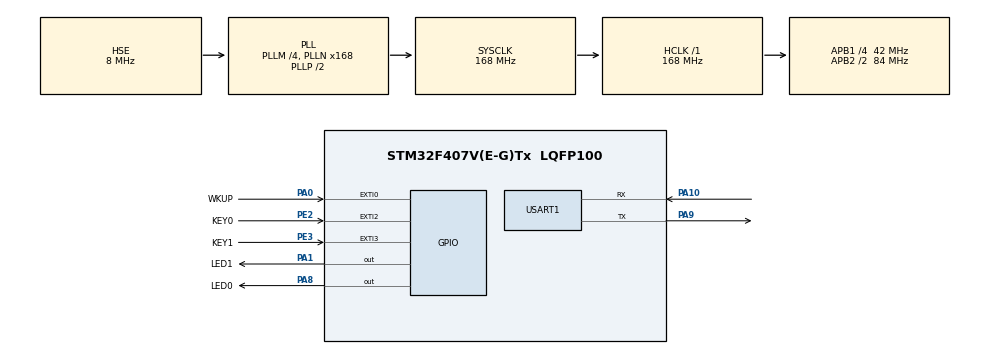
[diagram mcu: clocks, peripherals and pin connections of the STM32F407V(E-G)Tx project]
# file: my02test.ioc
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Dma.Request0=USART1_RX
Dma.USART1_RX.0.Direction=DMA_PERIPH_TO_MEMORY
Dma.USART1_RX.0.FIFOMode=DMA_FIFOMODE_DISABLE
Dma.USART1_RX.0.Instance=DMA2_Stream2
Dma.USART1_RX.0.MemDataAlignment=DMA_MDATAALIGN_BYTE
Dma.USART1_RX.0.MemInc=DMA_MINC_ENABLE
Dma.USART1_RX.0.Mode=DMA_NORMAL
Dma.USART1_RX.0.PeriphDataAlignment=DMA_PDATAALIGN_BYTE
Dma.USART1_RX.0.PeriphInc=DMA_PINC_DISABLE
Dma.USART1_RX.0.Priority=DMA_PRIORITY_LOW
FREERTOS.BinarySemaphores01=myBinarySem01,Dynamic,NULL
FREERTOS.Queues01=myQueue01,10,uint16_t,0,Dynamic,NULL,NULL
FREERTOS.Tasks01=defaultTask,24,128,StartDefaultTask,Default,NULL,Dynamic,NULL,NULL;myTask02,24,128,StartTask02,Default,NULL,Dynamic,NULL,NULL;myTask03,24,128,StartTask03,Default,NULL,Dynamic,NULL,NULL;myTask04,8,128,StartTask04,Default,NULL,Dynamic,NULL,NULL;myTask05,8,128,StartTask05,Default,NULL,Dynamic,NULL,NULL;myUart1Task,16,128,StartUart1Task,Default,NULL,Dynamic,NULL,NULL
Mcu.Family=STM32F4
Mcu.Name=STM32F407V(E-G)Tx
Mcu.Package=LQFP100
NVIC.DMA2_Stream2_IRQn=true\:5\:0\:false\:false\:true\:true\:false\:true\:true
NVIC.EXTI0_IRQn=true\:5\:0\:false\:false\:true\:true\:true\:true\:true
NVIC.EXTI2_IRQn=true\:5\:0\:false\:false\:true\:true\:true\:true\:true
NVIC.EXTI3_IRQn=true\:5\:0\:false\:false\:true\:true\:true\:true\:true
NVIC.PriorityGroup=NVIC_PRIORITYGROUP_4
NVIC.TIM4_IRQn=true\:15\:0\:false\:false\:true\:false\:false\:true\:true
NVIC.TimeBase=TIM4_IRQn
NVIC.TimeBaseIP=TIM4
NVIC.USART1_IRQn=true\:5\:0\:false\:false\:true\:true\:true\:true\:true
PA0-WKUP.GPIO_Label=WKUP
PA0-WKUP.GPIO_PuPd=GPIO_PULLDOWN
PA0-WKUP.Signal=GPXTI0
PA1.GPIO_Label=LED1
PA1.Signal=GPIO_Output
PA10.Mode=Asynchronous
PA10.Signal=USART1_RX
PA13.Mode=Serial_Wire
PA13.Signal=SYS_JTMS-SWDIO
PA14.Mode=Serial_Wire
PA14.Signal=SYS_JTCK-SWCLK
PA8.GPIO_Label=LED0
PA8.Signal=GPIO_Output
PA9.Mode=Asynchronous
PA9.Signal=USART1_TX
PC14-OSC32_IN.Mode=LSE-External-Oscillator
PC14-OSC32_IN.Signal=RCC_OSC32_IN
PC15-OSC32_OUT.Mode=LSE-External-Oscillator
PC15-OSC32_OUT.Signal=RCC_OSC32_OUT
PE2.GPIO_Label=KEY0
PE2.GPIO_ModeDefaultEXTI=GPIO_MODE_IT_FALLING
PE2.GPIO_PuPd=GPIO_PULLUP
PE2.Signal=GPXTI2
PE3.GPIO_Label=KEY1
PE3.GPIO_ModeDefaultEXTI=GPIO_MODE_IT_FALLING
PE3.GPIO_PuPd=GPIO_PULLUP
PE3.Signal=GPXTI3
PH0-OSC_IN.Mode=HSE-External-Oscillator
PH0-OSC_IN.Signal=RCC_OSC_IN
PH1-OSC_OUT.Mode=HSE-External-Oscillator
PH1-OSC_OUT.Signal=RCC_OSC_OUT
ProjectManager.HeapSize=0x200
ProjectManager.StackSize=0x400
ProjectManager.TargetToolchain=MDK-ARM V5.32
RCC.48MHZClocksFreq_Value=84000000
RCC.AHBFreq_Value=168000000
RCC.APB1CLKDivider=RCC_HCLK_DIV4
RCC.APB1Freq_Value=42000000
RCC.APB1TimFreq_Value=84000000
RCC.APB2CLKDivider=RCC_HCLK_DIV2
RCC.APB2Freq_Value=84000000
RCC.APB2TimFreq_Value=168000000
RCC.CortexFreq_Value=168000000
RCC.HCLKFreq_Value=168000000
RCC.HSE_VALUE=8000000
RCC.HSI_VALUE=16000000
RCC.PLLM=4
RCC.PLLN=168
RCC.PLLSourceVirtual=RCC_PLLSOURCE_HSE
RCC.SYSCLKFreq_VALUE=168000000
RCC.SYSCLKSource=RCC_SYSCLKSOURCE_PLLCLK
RCC.VCOOutputFreq_Value=336000000
TIM7.Period=50-1
TIM7.Prescaler=8400-1
USART1.VirtualMode=VM_ASYNC
VP_FREERTOS_VS_CMSIS_V2.Mode=CMSIS_V2
VP_SYS_VS_tim4.Mode=TIM4
VP_TIM7_VS_ClockSourceINT.Mode=Enable_Timer
board=custom

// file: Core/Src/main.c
/* USER CODE BEGIN Header */
/**
  ******************************************************************************
  * @file           : main.c
  * @brief          : Main program body
  ******************************************************************************
  * @attention
  *
  * Copyright (c) 2024 STMicroelectronics.
  * All rights reserved.
  *
  * This software is licensed under terms that can be found in the LICENSE file
  * in the root directory of this software component.
  * If no LICENSE file comes with this software, it is provided AS-IS.
  *
  ******************************************************************************
  */
/* USER CODE END Header */
#include "main.h"
#include "cmsis_os.h"
#include "dma.h"
#include "tim.h"
#include "usart.h"
#include "gpio.h"

void SystemClock_Config(void);
void MX_FREERTOS_Init(void);

int main(void)
{

  /* MCU Configuration--------------------------------------------------------*/

  /* Reset of all peripherals, Initializes the Flash interface and the Systick. */
  HAL_Init();

  /* Configure the system clock */
  SystemClock_Config();

  /* Initialize all configured peripherals */
  MX_GPIO_Init();
  MX_DMA_Init();
  MX_USART1_UART_Init();
  MX_TIM7_Init();

  /* Init scheduler */
  osKernelInitialize();

  /* Call init function for freertos objects (in freertos.c) */
  MX_FREERTOS_Init();

  /* Start scheduler */
  osKernelStart();

  /* We should never get here as control is now taken by the scheduler */
  /* Infinite loop */
  while (1)
  {

  }
}

void SystemClock_Config(void)
{
  RCC_OscInitTypeDef RCC_OscInitStruct = {0};
  RCC_ClkInitTypeDef RCC_ClkInitStruct = {0};

  /** Configure the main internal regulator output voltage
  */
  __HAL_RCC_PWR_CLK_ENABLE();
  __HAL_PWR_VOLTAGESCALING_CONFIG(PWR_REGULATOR_VOLTAGE_SCALE1);

  /** Initializes the RCC Oscillators according to the specified parameters
  * in the RCC_OscInitTypeDef structure.
  */
  RCC_OscInitStruct.OscillatorType = RCC_OSCILLATORTYPE_HSE;
  RCC_OscInitStruct.HSEState = RCC_HSE_ON;
  RCC_OscInitStruct.PLL.PLLState = RCC_PLL_ON;
  RCC_OscInitStruct.PLL.PLLSource = RCC_PLLSOURCE_HSE;
  RCC_OscInitStruct.PLL.PLLM = 4;
  RCC_OscInitStruct.PLL.PLLN = 168;
  RCC_OscInitStruct.PLL.PLLP = RCC_PLLP_DIV2;
  RCC_OscInitStruct.PLL.PLLQ = 4;
  if (HAL_RCC_OscConfig(&RCC_OscInitStruct) != HAL_OK)
  {
    Error_Handler();
  }

  /** Initializes the CPU, AHB and APB buses clocks
  */
  RCC_ClkInitStruct.ClockType = RCC_CLOCKTYPE_HCLK|RCC_CLOCKTYPE_SYSCLK
                              |RCC_CLOCKTYPE_PCLK1|RCC_CLOCKTYPE_PCLK2;
  RCC_ClkInitStruct.SYSCLKSource = RCC_SYSCLKSOURCE_PLLCLK;
  RCC_ClkInitStruct.AHBCLKDivider = RCC_SYSCLK_DIV1;
  RCC_ClkInitStruct.APB1CLKDivider = RCC_HCLK_DIV4;
  RCC_ClkInitStruct.APB2CLKDivider = RCC_HCLK_DIV2;

  if (HAL_RCC_ClockConfig(&RCC_ClkInitStruct, FLASH_LATENCY_5) != HAL_OK)
  {
    Error_Handler();
  }
}

void HAL_TIM_PeriodElapsedCallback(TIM_HandleTypeDef *htim)
{
  if (htim->Instance == TIM4) {
    HAL_IncTick();
  }
}

void Error_Handler(void)
{
  __disable_irq();
  while (1)
  {
  }
}

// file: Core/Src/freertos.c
/* USER CODE BEGIN Header */
/**
  ******************************************************************************
  * File Name          : freertos.c
  * Description        : Code for freertos applications
  ******************************************************************************
  * @attention
  *
  * Copyright (c) 2024 STMicroelectronics.
  * All rights reserved.
  *
  * This software is licensed under terms that can be found in the LICENSE file
  * in the root directory of this software component.
  * If no LICENSE file comes with this software, it is provided AS-IS.
  *
  ******************************************************************************
  */
/* USER CODE END Header */

#include "FreeRTOS.h"
#include "task.h"
#include "main.h"
#include "cmsis_os.h"

/* USER CODE BEGIN Includes */
//#include "driver_uart.h"
#include "usart.h"
#include "stdio.h"
#include "string.h"
#include "semphr.h"
#include <stdio.h>
/* USER CODE END Includes */

/* USER CODE BEGIN Variables */
		static TaskHandle_t xHandleTaskUserIF = NULL;
		//SemaphoreHandle_t  xSemaphore = NULL;
		osSemaphoreId_t myBinarySem01Handle;
		uint8_t RxBuffer[100];
		uint8_t rx_len=0;//接收到的数据长度

/* USER CODE END Variables */
/* Definitions for defaultTask */
osThreadId_t defaultTaskHandle;
const osThreadAttr_t defaultTask_attributes = {
  .name = "defaultTask",
  .stack_size = 128 * 4,
  .priority = (osPriority_t) osPriorityNormal,
};
/* Definitions for myTask02 */
osThreadId_t myTask02Handle;
const osThreadAttr_t myTask02_attributes = {
  .name = "myTask02",
  .stack_size = 128 * 4,
  .priority = (osPriority_t) osPriorityNormal,
};
/* Definitions for myTask03 */
osThreadId_t myTask03Handle;
const osThreadAttr_t myTask03_attributes = {
  .name = "myTask03",
  .stack_size = 128 * 4,
  .priority = (osPriority_t) osPriorityNormal,
};
/* Definitions for myTask04 */
osThreadId_t myTask04Handle;
const osThreadAttr_t myTask04_attributes = {
  .name = "myTask04",
  .stack_size = 128 * 4,
  .priority = (osPriority_t) osPriorityLow,
};
/* Definitions for myTask05 */
osThreadId_t myTask05Handle;
const osThreadAttr_t myTask05_attributes = {
  .name = "myTask05",
  .stack_size = 128 * 4,
  .priority = (osPriority_t) osPriorityLow,
};
/* Definitions for myUart1Task */
osThreadId_t myUart1TaskHandle;
const osThreadAttr_t myUart1Task_attributes = {
  .name = "myUart1Task",
  .stack_size = 128 * 4,
  .priority = (osPriority_t) osPriorityBelowNormal,
};
/* Definitions for myQueue01 */
osMessageQueueId_t myQueue01Handle;
const osMessageQueueAttr_t myQueue01_attributes = {
  .name = "myQueue01"
};
/* Definitions for myBinarySem01 */
osSemaphoreId_t myBinarySem01Handle;
const osSemaphoreAttr_t myBinarySem01_attributes = {
  .name = "myBinarySem01"
};

void StartDefaultTask(void *argument);
void StartTask02(void *argument);
void StartTask03(void *argument);
void StartTask04(void *argument);
void StartTask05(void *argument);
void StartUart1Task(void *argument);

void MX_FREERTOS_Init(void); /* (MISRA C 2004 rule 8.1) */

void MX_FREERTOS_Init(void) {

  /* Create the semaphores(s) */
  /* creation of myBinarySem01 */
  myBinarySem01Handle = osSemaphoreNew(1, 0, &myBinarySem01_attributes);

  /* Create the queue(s) */
  /* creation of myQueue01 */
  myQueue01Handle = osMessageQueueNew (10, sizeof(uint16_t), &myQueue01_attributes);

  /* Create the thread(s) */
  /* creation of defaultTask */
  defaultTaskHandle = osThreadNew(StartDefaultTask, NULL, &defaultTask_attributes);

  /* creation of myTask02 */
  myTask02Handle = osThreadNew(StartTask02, NULL, &myTask02_attributes);

  /* creation of myTask03 */
  myTask03Handle = osThreadNew(StartTask03, NULL, &myTask03_attributes);

  /* creation of myTask04 */
  myTask04Handle = osThreadNew(StartTask04, NULL, &myTask04_attributes);

  /* creation of myTask05 */
  myTask05Handle = osThreadNew(StartTask05, NULL, &myTask05_attributes);

  /* creation of myUart1Task */
  myUart1TaskHandle = osThreadNew(StartUart1Task, NULL, &myUart1Task_attributes);

}

void StartDefaultTask(void *argument)
{
  /* USER CODE BEGIN StartDefaultTask */
  /* Infinite loop */
  for(;;)
  {
    osDelay(1);//1
  }
  /* USER CODE END StartDefaultTask */
}

void StartTask02(void *argument)
{
  /* USER CODE BEGIN StartTask02 */
  /* Infinite loop */

  for(;;)
  {
    osDelay(500);
		HAL_GPIO_TogglePin(GPIOA, GPIO_PIN_1);
		//HAL_GPIO_WritePin(GPIOA, GPIO_PIN_8, GPIO_PIN_SET);
	  //osDelay(500);
		//HAL_GPIO_WritePin(GPIOA, GPIO_PIN_1, GPIO_PIN_SET);
		//HAL_GPIO_WritePin(GPIOA, GPIO_PIN_8, GPIO_PIN_RESET);
		//

  }
  /* USER CODE END StartTask02 */
}

void StartTask03(void *argument)
{
  /* USER CODE BEGIN StartTask03 */
  /* Infinite loop */
  for(;;)
  {
    osDelay(1000);
		printf("Hello, World!\n");
  }
  /* USER CODE END StartTask03 */
}

void StartTask04(void *argument)
{
  for(;;)
  {
    osDelay(1);
  }
}

void StartTask05(void *argument)
{
  for(;;)
  {
    osDelay(1);
  }
}

void StartUart1Task(void *argument)
{
  /* USER CODE BEGIN StartUart1Task */
		BaseType_t xResult;
		__HAL_UART_ENABLE_IT(&huart1, UART_IT_IDLE);
		HAL_UART_Receive_DMA(&huart1,(uint8_t*)RxBuffer,100);
  /* Infinite loop */
  for(;;)
  {
				xResult = xSemaphoreTake(myBinarySem01Handle, (TickType_t)pdMS_TO_TICKS(300));//获取信号量
				if(xResult == pdTRUE)
				{
					/* 接收到同步信号 */
					HAL_UART_Transmit(&huart1,RxBuffer,rx_len,100);
					HAL_UART_Receive_DMA(&huart1,(uint8_t*)RxBuffer,100);
				}
				//vTaskDelay(5);
    osDelay(5);
  }
  /* USER CODE END StartUart1Task */
}

/* USER CODE BEGIN Application */
//int _write(int file, char *ptr, int len) {
//  // 实现将数据发送到串口的代码
//  // 例如，使用 HAL 库发送数据到串口

//  // 这是一个示例，具体的实现可能会根据你的配置和库的不同而有所调整
//  HAL_UART_Transmit(&huart1, (uint8_t*)ptr, len, HAL_MAX_DELAY);

//  return len;
//}

/* USER CODE END Application */
